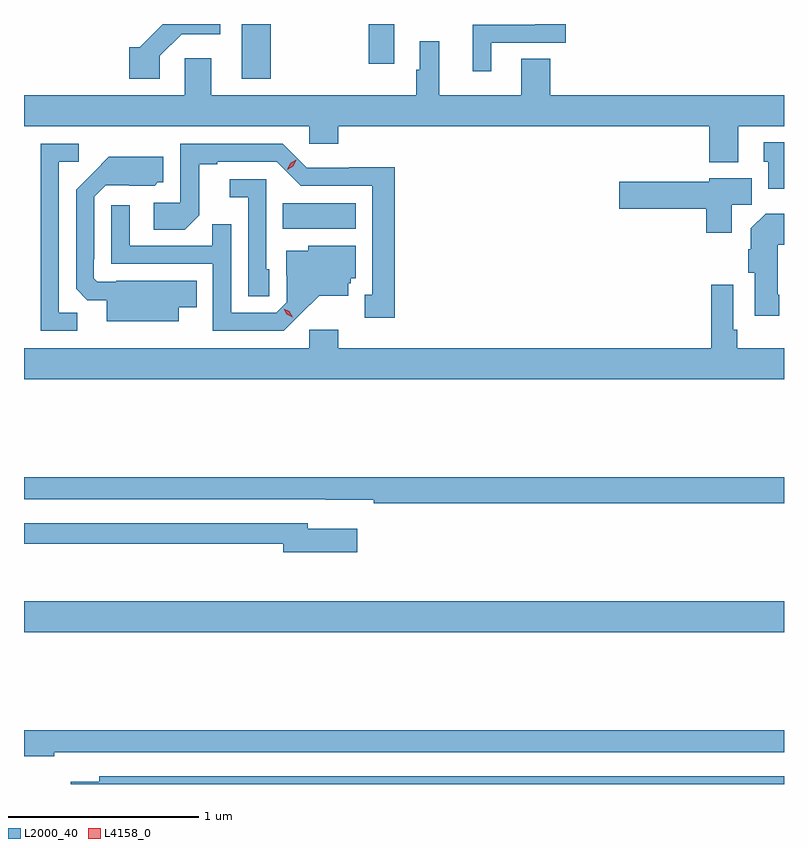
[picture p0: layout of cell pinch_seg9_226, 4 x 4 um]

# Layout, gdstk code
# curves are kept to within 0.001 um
import gdstk
lib = gdstk.Library(unit=1e-6, precision=1e-09)
def R(c, l, rs):  # rectangles x0, y0, x1, y1
    for r in rs: c.add(gdstk.rectangle(r[:2], r[2:], *l))
def P(c, l, *ps):  # polygons
    for p in ps: c.add(gdstk.Polygon(p, *l))
L2000_40 = (2000, 40)
L4158_0 = (4158, 0)

pinch_seg9_226 = lib.new_cell('pinch_seg9_226')
R(pinch_seg9_226, L2000_40, [(502.529,1235.048,506.529,1235.212), (503.89,1237.172,504.274,1237.306), (503.675,1237.961,503.828,1238.25), (504.344,1238.04,504.478,1238.25)])
P(pinch_seg9_226, L2000_40, [(503.244,1238.082),(503.358,1238.196),(503.563,1238.196),(503.563,1238.25),(503.259,1238.25),(503.137,1238.128),(503.084,1238.128),(503.084,1237.962),(503.244,1237.962)],
  [(504.988,1238.151),(505.379,1238.151),(505.379,1238.25),(505.22,1238.25),(505.22,1238.247),(504.89,1238.247),(504.89,1238.001),(504.988,1238.001)],
  [(506.287,1237.712),(506.529,1237.712),(506.529,1237.876),(505.298,1237.876),(505.298,1238.066),(505.145,1238.066),(505.145,1237.876),(504.715,1237.876),(504.715,1238.158),(504.611,1238.158),(504.611,1238.009),(504.594,1238.009),(504.594,1237.876),(503.515,1237.876),(503.515,1238.071),(503.376,1238.071),(503.376,1237.876),(502.529,1237.876),(502.529,1237.712),(504.03,1237.712),(504.03,1237.619),(504.182,1237.619),(504.182,1237.712),(506.135,1237.712),(506.135,1237.523),(506.287,1237.523)],
  [(506.529,1237.627),(506.423,1237.627),(506.423,1237.524),(506.447,1237.524),(506.447,1237.382),(506.529,1237.382)],
  [(504.481,1237.496),(504.24,1237.496),(504.24,1237.494),(504.018,1237.494),(503.892,1237.62),(503.352,1237.62),(503.352,1237.308),(503.211,1237.308),(503.211,1237.168),(503.375,1237.168),(503.451,1237.244),(503.451,1237.512),(503.545,1237.512),(503.545,1237.524),(503.859,1237.524),(503.985,1237.398),(504.362,1237.398),(504.362,1236.825),(504.323,1236.825),(504.323,1236.705),(504.481,1236.705)],
  [(502.809,1236.731),(502.713,1236.731),(502.713,1237.524),(502.816,1237.524),(502.816,1237.62),(502.617,1237.62),(502.617,1236.636),(502.809,1236.636)],
  [(503.344,1236.758),(503.438,1236.758),(503.438,1236.898),(503.014,1236.898),(503.014,1236.894),(502.914,1236.894),(502.896,1236.912),(502.896,1237.012),(502.899,1237.012),(502.899,1237.341),(502.959,1237.401),(503.216,1237.4),(503.232,1237.416),(503.263,1237.416),(503.263,1237.552),(502.975,1237.552),(502.803,1237.378),(502.803,1236.856),(502.862,1236.797),(502.964,1236.797),(502.964,1236.686),(503.344,1236.686)],
  [(506.254,1237.3),(506.359,1237.3),(506.359,1237.438),(506.136,1237.438),(506.136,1237.419),(505.662,1237.419),(505.662,1237.277),(506.12,1237.277),(506.12,1237.152),(506.254,1237.152)],
  [(503.82,1236.96),(503.805,1236.96),(503.805,1237.434),(503.613,1237.434),(503.613,1237.337),(503.709,1237.337),(503.709,1236.817),(503.82,1236.817)],
  [(503.98,1236.719),(504.083,1236.821),(504.235,1236.821),(504.235,1236.885),(504.249,1236.885),(504.249,1236.912),(504.274,1236.912),(504.274,1237.084),(504.024,1237.084),(504.024,1237.057),(503.909,1237.057),(503.909,1236.928),(503.913,1236.928),(503.913,1236.786),(503.856,1236.729),(503.619,1236.729),(503.619,1237.196),(503.521,1237.196),(503.521,1237.083),(503.085,1237.083),(503.085,1237.297),(502.989,1237.297),(502.989,1236.987),(503.523,1236.987),(503.523,1236.636),(503.896,1236.636)],
  [(506.505,1236.826),(506.497,1236.826),(506.497,1237.088),(506.529,1237.088),(506.529,1237.252),(506.432,1237.252),(506.354,1237.174),(506.354,1237.064),(506.342,1237.064),(506.342,1236.942),(506.375,1236.942),(506.375,1236.714),(506.505,1236.714)],
  [(506.529,1236.544),(506.282,1236.544),(506.282,1236.64),(506.262,1236.64),(506.262,1236.877),(506.146,1236.877),(506.146,1236.544),(504.182,1236.544),(504.182,1236.64),(504.03,1236.64),(504.03,1236.544),(502.529,1236.544),(502.529,1236.38),(506.529,1236.38)],
  [(506.529,1235.864),(502.529,1235.864),(502.529,1235.748),(504.118,1235.748),(504.118,1235.747),(504.37,1235.747),(504.37,1235.728),(506.529,1235.728)],
  [(504.283,1235.593),(504.022,1235.593),(504.022,1235.622),(502.529,1235.622),(502.529,1235.514),(503.894,1235.514),(503.894,1235.471),(504.283,1235.471)],
  [(502.688,1234.416),(506.529,1234.416),(506.529,1234.532),(502.529,1234.532),(502.529,1234.396),(502.688,1234.396)],
  [(506.529,1234.29),(502.925,1234.29),(502.925,1234.261),(502.776,1234.261),(502.776,1234.25),(506.529,1234.25)])
P(pinch_seg9_226, L4158_0, [(503.943,1236.707),(503.913,1236.722),(503.896,1236.752),(503.896,1236.752),(503.896,1236.752),(503.926,1236.737),(503.943,1236.707),(503.943,1236.707)],
  [(503.914,1237.483),(503.914,1237.483),(503.931,1237.516),(503.962,1237.535),(503.962,1237.535),(503.962,1237.534),(503.945,1237.502),(503.914,1237.483)])

lib.write_gds('pinch_seg9_226.gds')
